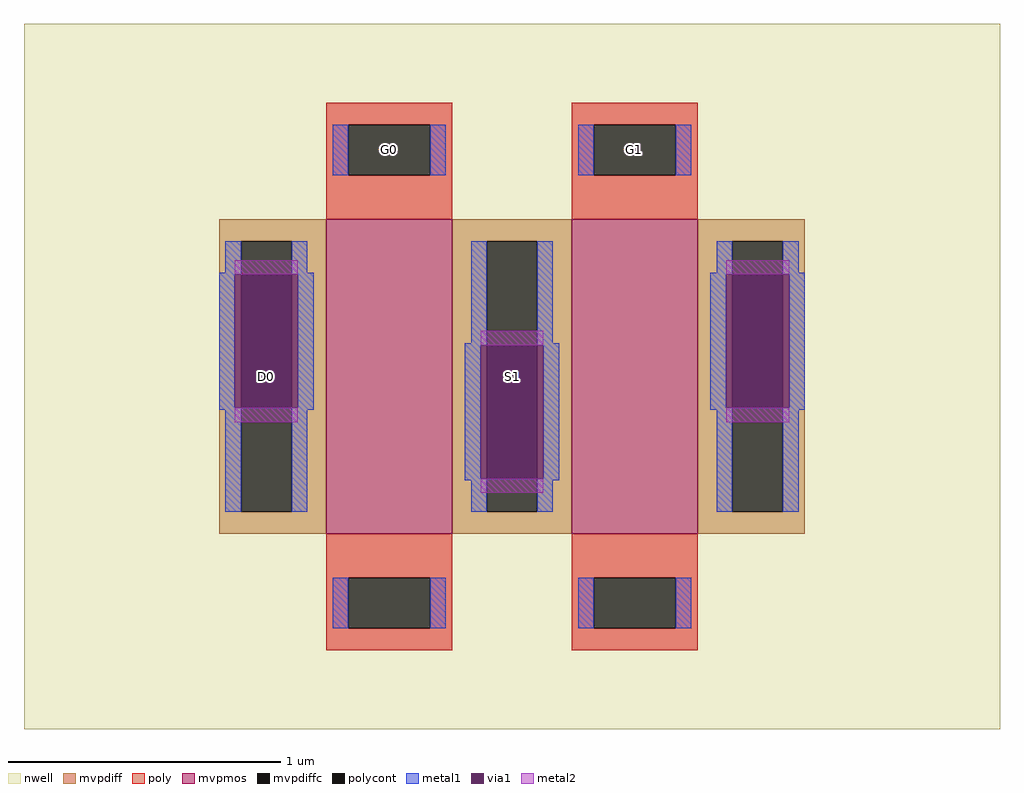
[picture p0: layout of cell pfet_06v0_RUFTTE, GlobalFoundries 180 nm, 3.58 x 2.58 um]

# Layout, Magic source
magic
tech gf180mcuD
magscale 3 26
<< nwell >>
rect -310 -224 310 224
<< mvpmos >>
rect -118 -100 -38 100
rect 38 -100 118 100
<< mvpdiff >>
rect -186 86 -118 100
rect -186 -86 -172 86
rect -140 -86 -118 86
rect -186 -100 -118 -86
rect -38 86 38 100
rect -38 -86 -16 86
rect 16 -86 38 86
rect -38 -100 38 -86
rect 118 86 186 100
rect 118 -86 140 86
rect 172 -86 186 86
rect 118 -100 186 -86
<< mvpdiffc >>
rect -172 -86 -140 86
rect -16 -86 16 86
rect 140 -86 172 86
<< poly >>
rect -118 160 -38 174
rect -118 128 -104 160
rect -52 128 -38 160
rect -118 100 -38 128
rect 38 160 118 174
rect 38 128 52 160
rect 104 128 118 160
rect 38 100 118 128
rect -118 -128 -38 -100
rect -118 -160 -104 -128
rect -52 -160 -38 -128
rect -118 -174 -38 -160
rect 38 -128 118 -100
rect 38 -160 52 -128
rect 104 -160 118 -128
rect 38 -174 118 -160
<< polycont >>
rect -104 128 -52 160
rect 52 128 104 160
rect -104 -160 -52 -128
rect 52 -160 104 -128
<< metal1 >>
rect -114 128 -104 160
rect -52 128 -42 160
rect 42 128 52 160
rect 104 128 114 160
rect -182 66 -172 86
rect -186 65 -172 66
rect -140 66 -130 86
rect -140 65 -126 66
rect -186 -20 -176 65
rect -136 -20 -126 65
rect -26 21 -16 86
rect -186 -21 -172 -20
rect -182 -86 -172 -21
rect -140 -21 -126 -20
rect -30 20 -16 21
rect 16 21 26 86
rect 130 66 140 86
rect 126 65 140 66
rect 172 66 182 86
rect 172 65 186 66
rect 16 20 30 21
rect -140 -86 -130 -21
rect -30 -65 -20 20
rect 20 -65 30 20
rect 126 -20 136 65
rect 176 -20 186 65
rect 126 -21 140 -20
rect -30 -66 -16 -65
rect -26 -86 -16 -66
rect 16 -66 30 -65
rect 16 -86 26 -66
rect 130 -86 140 -21
rect 172 -21 186 -20
rect 172 -86 182 -21
rect -114 -160 -104 -128
rect -52 -160 -42 -128
rect 42 -160 52 -128
rect 104 -160 114 -128
<< via1 >>
rect -176 -20 -172 65
rect -172 -20 -140 65
rect -140 -20 -136 65
rect -20 -65 -16 20
rect -16 -65 16 20
rect 16 -65 20 20
rect 136 -20 140 65
rect 140 -20 172 65
rect 172 -20 176 65
<< metal2 >>
rect -176 65 -136 74
rect 136 65 176 74
rect -176 -29 -136 -20
rect -20 20 20 29
rect 136 -29 176 -20
rect -20 -74 20 -65
<< labels >>
rlabel mvpdiffc -156 0 -156 0 0 D0
port 1 nsew
rlabel polycont -78 144 -78 144 0 G0
port 2 nsew
rlabel mvpdiffc 0 0 0 0 0 S1
port 3 nsew
rlabel polycont 78 144 78 144 0 G1
port 4 nsew
<< properties >>
string gencell pfet_05v0
string library gf180mcu
string parameters w 1.0 l 0.4 m 1 ng 2 diffcov 100 polycov 100 guard 0 glc 1 grc 1 gtc 1 gbc 1 tbcov 100 rlcov 100 topc 1 botc 1 poverlap 0 doverlap 1 lmin 0.4 wmin 0.15 class mosfet compatible {pfet_05v0 pfet_06v0} full_metal 1 conn_gates 0 gate_ring 0 ccols 1 viasrc +50 viadrn -50 viagate 0 viagb 0 viagr 0 viagl 0 viagt 0 doports 1
<< end >>
